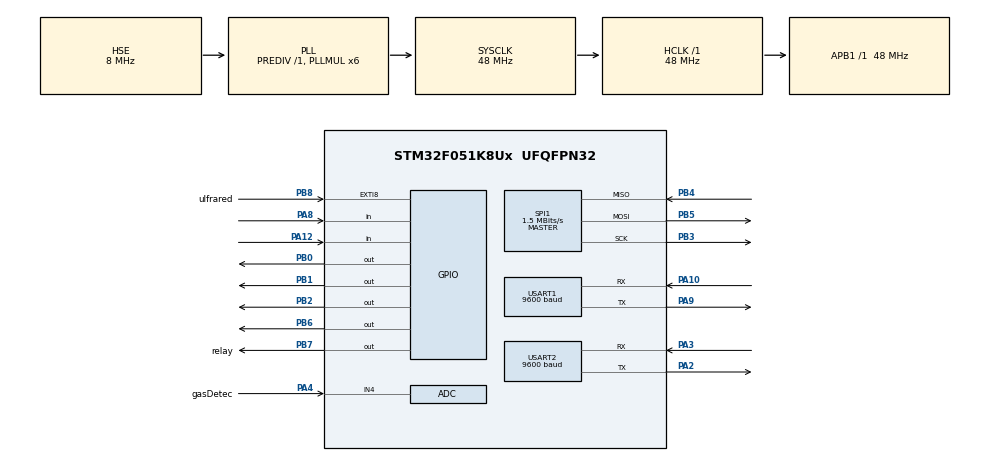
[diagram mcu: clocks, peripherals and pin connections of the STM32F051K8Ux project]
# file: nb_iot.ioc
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ADC.SamplingTime=ADC_SAMPLETIME_239CYCLES_5
Dma.Request0=USART2_RX
Dma.USART2_RX.0.Direction=DMA_PERIPH_TO_MEMORY
Dma.USART2_RX.0.Instance=DMA1_Channel5
Dma.USART2_RX.0.MemDataAlignment=DMA_MDATAALIGN_BYTE
Dma.USART2_RX.0.MemInc=DMA_MINC_ENABLE
Dma.USART2_RX.0.Mode=DMA_NORMAL
Dma.USART2_RX.0.PeriphDataAlignment=DMA_PDATAALIGN_BYTE
Dma.USART2_RX.0.PeriphInc=DMA_PINC_DISABLE
Dma.USART2_RX.0.Priority=DMA_PRIORITY_LOW
Mcu.Family=STM32F0
Mcu.Name=STM32F051K8Ux
Mcu.Package=UFQFPN32
NVIC.DMA1_Channel4_5_IRQn=true\:0\:0\:false\:false\:true\:false\:true
NVIC.EXTI4_15_IRQn=true\:0\:0\:false\:false\:true\:true\:true
NVIC.USART1_IRQn=true\:0\:0\:false\:false\:true\:true\:true
NVIC.USART2_IRQn=true\:0\:0\:false\:false\:true\:true\:true
PA0.Signal=ADC_IN0
PA1.Signal=ADC_IN1
PA10.Mode=Asynchronous
PA10.Signal=USART1_RX
PA12.Signal=GPIO_Input
PA13.Mode=Serial_Wire
PA13.Signal=SYS_SWDIO
PA14.Mode=Serial_Wire
PA14.Signal=SYS_SWCLK
PA15.Signal=SPI1_NSS
PA2.Mode=Asynchronous
PA2.Signal=USART2_TX
PA3.Mode=Asynchronous
PA3.Signal=USART2_RX
PA4.GPIO_Label=gasDetec
PA4.Mode=IN4
PA4.Signal=ADC_IN4
PA6.Signal=ADC_IN6
PA8.Signal=GPIO_Input
PA9.Mode=Asynchronous
PA9.Signal=USART1_TX
PB0.Signal=GPIO_Output
PB1.Signal=GPIO_Output
PB2.Signal=GPIO_Output
PB3.Mode=Full_Duplex_Master
PB3.Signal=SPI1_SCK
PB4.Mode=Full_Duplex_Master
PB4.Signal=SPI1_MISO
PB5.Mode=Full_Duplex_Master
PB5.Signal=SPI1_MOSI
PB6.Signal=GPIO_Output
PB7.GPIO_Label=relay
PB7.Signal=GPIO_Output
PB8.GPIO_Label=ulfrared
PB8.GPIO_ModeDefaultEXTI=GPIO_MODE_IT_RISING_FALLING
PB8.GPIO_PuPd=GPIO_PULLDOWN
PB8.Signal=GPXTI8
PF0-OSC_IN.Mode=HSE-External-Oscillator
PF0-OSC_IN.Signal=RCC_OSC_IN
PF1-OSC_OUT.Mode=HSE-External-Oscillator
PF1-OSC_OUT.Signal=RCC_OSC_OUT
ProjectManager.HeapSize=0x200
ProjectManager.StackSize=0x400
ProjectManager.TargetToolchain=MDK-ARM V5
RCC.AHBFreq_Value=48000000
RCC.APB1Freq_Value=48000000
RCC.APB1TimFreq_Value=48000000
RCC.HCLKFreq_Value=48000000
RCC.PLLMUL=RCC_PLL_MUL6
RCC.PLLSourceVirtual=RCC_PLLSOURCE_HSE
RCC.SYSCLKFreq_VALUE=48000000
RCC.SYSCLKSource=RCC_SYSCLKSOURCE_PLLCLK
SPI1.BaudRatePrescaler=SPI_BAUDRATEPRESCALER_32
SPI1.CalculateBaudRate=1.5 MBits/s
SPI1.DataSize=SPI_DATASIZE_8BIT
SPI1.Direction=SPI_DIRECTION_2LINES
SPI1.Mode=SPI_MODE_MASTER
SPI1.VirtualType=VM_MASTER
USART1.BaudRate=9600
USART1.VirtualMode-Asynchronous=VM_ASYNC
USART2.BaudRate=9600
USART2.VirtualMode-Asynchronous=VM_ASYNC
board=nb_iot

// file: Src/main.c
/* USER CODE BEGIN Header */
/**
  ******************************************************************************
  * @file           : main.c
  * @brief          : Main program body
  ******************************************************************************
  * @attention
  *
  * <h2><center>&copy; Copyright (c) 2021 STMicroelectronics.
  * All rights reserved.</center></h2>
  *
  * This software component is licensed by ST under BSD 3-Clause license,
  * the "License"; You may not use this file except in compliance with the
  * License. You may obtain a copy of the License at:
  *                        opensource.org/licenses/BSD-3-Clause
  *
  ******************************************************************************
  */
/* USER CODE END Header */
#include "main.h"
#include "adc.h"
#include "dma.h"
#include "spi.h"
#include "usart.h"
#include "gpio.h"

/* USER CODE BEGIN Includes */
#include "at4nb.h"
#include "lcd.h"
#include "string.h"
/* USER CODE END Includes */

/* USER CODE BEGIN PV */
/* Private variables ---------------------------------------------------------*/

/* USER CODE END PV */

void SystemClock_Config(void);
/* USER CODE BEGIN PFP */
/* Private function prototypes -----------------------------------------------*/

/* USER CODE END PFP */

/* USER CODE BEGIN 0 */
extern AT4NB_MSG msgs[7];
extern Uart2DmaRcvData uart2DmaRcvData;
extern MsgIndex currentIndex;
extern uint8_t retryTimesBack[];
int debug;
/* USER CODE END 0 */

int main(void)
{

  /* MCU Configuration--------------------------------------------------------*/

  /* Reset of all peripherals, Initializes the Flash interface and the Systick. */
  HAL_Init();

  /* Configure the system clock */
  SystemClock_Config();

  /* Initialize all configured peripherals */
  MX_GPIO_Init();
  MX_DMA_Init();
  MX_ADC_Init();
  MX_SPI1_Init();
  MX_USART1_UART_Init();
  MX_USART2_UART_Init();
  /* USER CODE BEGIN 2 */
	Lcd_Init();
	HAL_Delay(500);
	Lcd_Clear(WHITE);
	printf("system init done\r\n");

  /* USER CODE END 2 */

  /* Infinite loop */
  while (1)
  {

    /* USER CODE BEGIN 3 */

		while (uart2DmaRcvData.rcvFlag == 0) //如果没有接受到NB的数据, LCD屏实时显示当前的状态
		{
			static uint8_t firstTime = 1;
			switch (currentIndex)
			{
				case REBOOT:
				if (firstTime)
				{
					Gui_DrawFont_GBK16(10, 10, BLUE, WHITE, "NB booting...");
					firstTime = 0;
				}
				break;

				case GET_SIGNAL_STRENGTH:
					Gui_DrawFont_GBK16(10, 10, BLUE, WHITE, "getting signal");
				Gui_DrawFont_GBK16(10, 26, BLUE, WHITE, "strength...");
				break;

				case GET_IP_ADDR:
					Gui_DrawFont_GBK16(10, 10, BLUE, WHITE, "getting IP");
						Gui_DrawFont_GBK16(10, 26, BLUE, WHITE, "address...");
				break;

				case CREATE_TCP_SOCKET:
					Gui_DrawFont_GBK16(10, 10, BLUE, WHITE, "creating ");
						Gui_DrawFont_GBK16(10, 26, BLUE, WHITE, "socket...");
				break;

				case CONNECT_SOCKET:
					Gui_DrawFont_GBK16(10, 10, BLUE, WHITE, "connecting ");
						Gui_DrawFont_GBK16(10, 26, BLUE, WHITE, "socket...");
				break;

				case SEND_MSG:
					Gui_DrawFont_GBK16(10, 10, BLUE, WHITE, "sensoring...");
				break;

				case GET_MSG:
					Gui_DrawFont_GBK16(10, 10, BLUE, WHITE, "getting");
				Gui_DrawFont_GBK16(10, 26, BLUE, WHITE, "message...");
			}
		}

		 //已获取NB的数据
		printf("rcved: %s\r\n", uart2DmaRcvData.rcvBuff);

		if (strstr(uart2DmaRcvData.rcvBuff, msgs[currentIndex].feedBack) != NULL)  //初步校验获取到的数据
		{
			if (currentIndex == GET_SIGNAL_STRENGTH)  //需要进一步校验信号质量
			{
				uint16_t rssi;
				uint8_t *p;
				p = strstr(uart2DmaRcvData.rcvBuff, "+CSQ:");
				if (p)
				{
					sscanf(p, "+CSQ:%d", &rssi);

					if (rssi > 0 && rssi < 99)  //校验成功
					{
						char buf[5];
						sprintf(buf, "%d", rssi);
						msgs[currentIndex].retryTimes = retryTimesBack[currentIndex];
						currentIndex++;
						Lcd_Clear(WHITE);
						Gui_DrawFont_GBK16(0, 10, BLUE, WHITE, "signal strength:");
						Gui_DrawFont_GBK16(50, 26, GREEN, WHITE, buf);
						HAL_Delay(1000);
						Lcd_Clear(WHITE);

					}
					else goto tryAgain;
				}
			}
			else if (currentIndex == GET_IP_ADDR)  //进一步校验地址是否有效
			{

				uint8_t *p;

				p = strstr(uart2DmaRcvData.rcvBuff, "+CGPADDR:0,");  //找到首地址
				if (p)  //0后有逗号说明已获取地址
				{
					uint8_t a1, a2, a3, a4;
					char buf[15];

					sscanf(p, "+CGPADDR:0,%d.%d.%d.%d", &a1, &a2, &a3, &a4);

						sprintf(buf, "%d.%d.%d.%d", a1, a2, a3, a4);

						Lcd_Clear(WHITE);
						Gui_DrawFont_GBK16(0, 10, BLUE, WHITE, "IP address:");
						Gui_DrawFont_GBK16(10, 26, GREEN, WHITE, buf);
						HAL_Delay(1000);
					Lcd_Clear(WHITE);

					msgs[currentIndex].retryTimes = retryTimesBack[currentIndex];
					currentIndex++;

				}
				else  goto tryAgain;
			}
			else if (currentIndex == SEND_MSG)
			{

				sensoring();
			}
			else if (currentIndex == GET_MSG)
			{
				uint8_t *p;

				p = strstr(uart2DmaRcvData.rcvBuff, msgs[currentIndex].feedBack);  //找到首地址
				if (p)
				{
					int relayCnd;
					sscanf(p, "1,64.69.43.237,10244,2,BB%d", &relayCnd);
					if (relayCnd == 1)
					{
						HAL_GPIO_WritePin(GPIOB, relay_Pin, GPIO_PIN_RESET);
					}
					else
					{
						HAL_GPIO_WritePin(GPIOB, relay_Pin, GPIO_PIN_SET);
					}
				}

				currentIndex--;

				Lcd_Clear(WHITE);
			}
			else  //校验成功
			{
				msgs[currentIndex].retryTimes = retryTimesBack[currentIndex];  //还原当前消息重试次数
				currentIndex++;
				HAL_Delay(1000);
				Lcd_Clear(WHITE);
			}
		}
		else  //校验数据失败
		{
			tryAgain:
			if (msgs[currentIndex].retryTimes > 0)
			{
				msgs[currentIndex].retryTimes--;
				if (currentIndex != REBOOT)
				{
					char buf[3];
					sprintf(buf, "%02d", msgs[currentIndex].retryTimes);
					Gui_DrawFont_GBK16(50, 60, RED, WHITE, buf);
				}
			}
			else   //如果重试次数到，重启
			{
				msgs[currentIndex].retryTimes = retryTimesBack[currentIndex];
				currentIndex = REBOOT;
			}
		}

		uart2DmaRcvData.rcvFlag = 0;
		HAL_UART_Transmit(&huart2, msgs[currentIndex].cmd, strlen(msgs[currentIndex].cmd), 100);

  }
  /* USER CODE END 3 */
}

void SystemClock_Config(void)
{
  RCC_OscInitTypeDef RCC_OscInitStruct = {0};
  RCC_ClkInitTypeDef RCC_ClkInitStruct = {0};
  RCC_PeriphCLKInitTypeDef PeriphClkInit = {0};

  /** Initializes the RCC Oscillators according to the specified parameters
  * in the RCC_OscInitTypeDef structure.
  */
  RCC_OscInitStruct.OscillatorType = RCC_OSCILLATORTYPE_HSI14|RCC_OSCILLATORTYPE_HSE;
  RCC_OscInitStruct.HSEState = RCC_HSE_ON;
  RCC_OscInitStruct.HSI14State = RCC_HSI14_ON;
  RCC_OscInitStruct.HSI14CalibrationValue = 16;
  RCC_OscInitStruct.PLL.PLLState = RCC_PLL_ON;
  RCC_OscInitStruct.PLL.PLLSource = RCC_PLLSOURCE_HSE;
  RCC_OscInitStruct.PLL.PLLMUL = RCC_PLL_MUL6;
  RCC_OscInitStruct.PLL.PREDIV = RCC_PREDIV_DIV1;
  if (HAL_RCC_OscConfig(&RCC_OscInitStruct) != HAL_OK)
  {
    Error_Handler();
  }
  /** Initializes the CPU, AHB and APB buses clocks
  */
  RCC_ClkInitStruct.ClockType = RCC_CLOCKTYPE_HCLK|RCC_CLOCKTYPE_SYSCLK
                              |RCC_CLOCKTYPE_PCLK1;
  RCC_ClkInitStruct.SYSCLKSource = RCC_SYSCLKSOURCE_PLLCLK;
  RCC_ClkInitStruct.AHBCLKDivider = RCC_SYSCLK_DIV1;
  RCC_ClkInitStruct.APB1CLKDivider = RCC_HCLK_DIV1;

  if (HAL_RCC_ClockConfig(&RCC_ClkInitStruct, FLASH_LATENCY_1) != HAL_OK)
  {
    Error_Handler();
  }
  PeriphClkInit.PeriphClockSelection = RCC_PERIPHCLK_USART1;
  PeriphClkInit.Usart1ClockSelection = RCC_USART1CLKSOURCE_PCLK1;
  if (HAL_RCCEx_PeriphCLKConfig(&PeriphClkInit) != HAL_OK)
  {
    Error_Handler();
  }
}

void Error_Handler(void)
{
  while(1)
  {
  }
}

/************************ (C) COPYRIGHT STMicroelectronics *****END OF FILE****/
